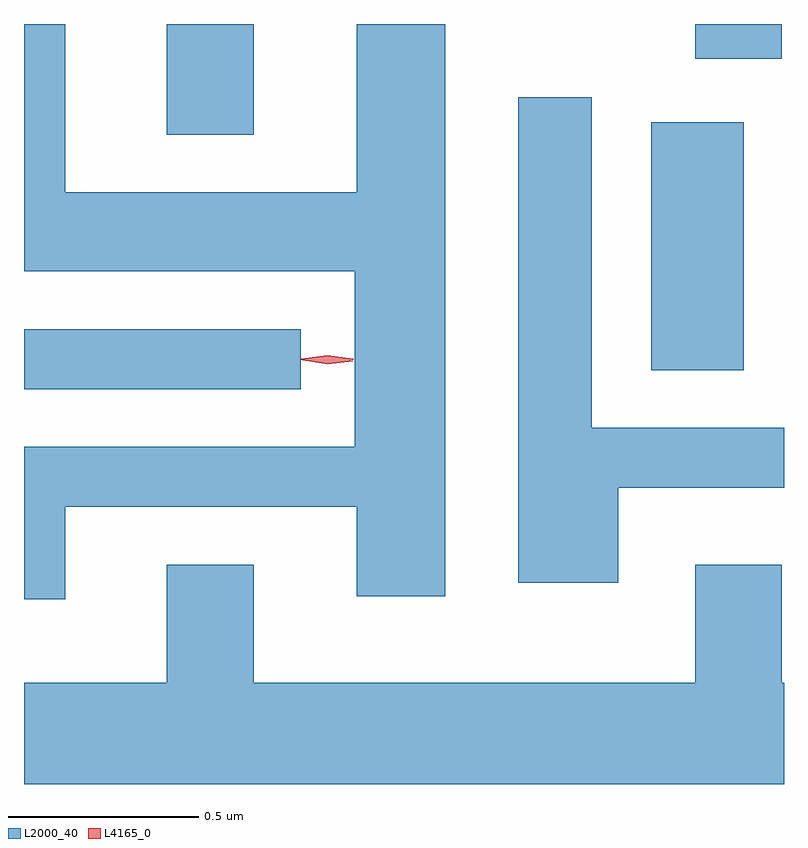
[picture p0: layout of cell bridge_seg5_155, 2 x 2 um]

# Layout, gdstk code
import gdstk
lib = gdstk.Library(unit=1e-6, precision=1e-09)
def R(c, l, rs):  # rectangles x0, y0, x1, y1
    for r in rs: c.add(gdstk.rectangle(r[:2], r[2:], *l))
def P(c, l, *ps):  # polygons
    for p in ps: c.add(gdstk.Polygon(p, *l))
L2000_40 = (2000, 40)
L4165_0 = (4165, 0)

bridge_seg5_155 = lib.new_cell('bridge_seg5_155')
R(bridge_seg5_155, L2000_40, [(1111.635,1460.056,1112.363,1460.214), (1113.286,1460.106,1113.529,1460.759), (1112.011,1460.726,1112.239,1461.017), (1113.401,1460.926,1113.629,1461.017)])
P(bridge_seg5_155, L2000_40, [(1111.744,1459.746),(1112.511,1459.746),(1112.511,1459.511),(1112.744,1459.511),(1112.744,1461.017),(1112.511,1461.017),(1112.511,1460.574),(1111.744,1460.574),(1111.744,1461.017),(1111.635,1461.017),(1111.635,1460.366),(1112.506,1460.366),(1112.506,1459.904),(1111.635,1459.904),(1111.635,1459.503),(1111.744,1459.503)],
  [(1113.199,1459.796),(1113.635,1459.796),(1113.635,1459.954),(1113.129,1459.954),(1113.129,1460.824),(1112.936,1460.824),(1112.936,1459.546),(1113.199,1459.546)],
  [(1113.635,1459.284),(1113.629,1459.284),(1113.629,1459.594),(1113.401,1459.594),(1113.401,1459.284),(1112.239,1459.284),(1112.239,1459.594),(1112.011,1459.594),(1112.011,1459.284),(1111.635,1459.284),(1111.635,1459.017),(1113.635,1459.017)])
P(bridge_seg5_155, L4165_0, [(1112.433,1460.125),(1112.364,1460.134),(1112.364,1460.135),(1112.364,1460.136),(1112.433,1460.145),(1112.502,1460.136),(1112.503,1460.135),(1112.502,1460.134)],
  [(1112.434,1460.122),(1112.368,1460.132),(1112.367,1460.133),(1112.368,1460.134),(1112.434,1460.142),(1112.5,1460.131),(1112.5,1460.131),(1112.5,1460.13)])

lib.write_gds('bridge_seg5_155.gds')
